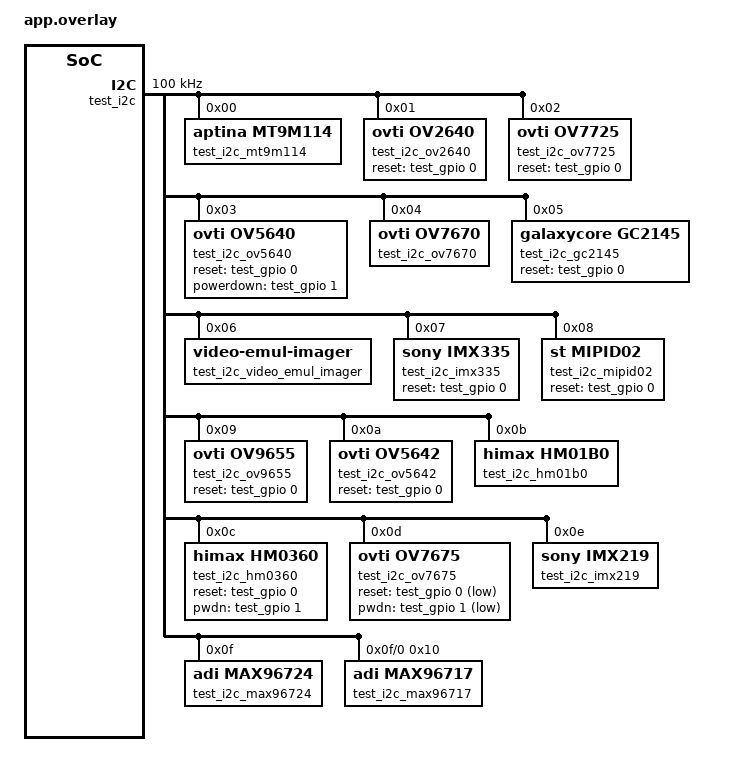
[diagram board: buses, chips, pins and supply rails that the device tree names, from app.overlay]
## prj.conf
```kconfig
CONFIG_TEST=y
CONFIG_TEST_USERSPACE=y
CONFIG_GPIO=y
CONFIG_I2C=y
CONFIG_VIDEO=y
CONFIG_VIDEO_SHELL=y
```

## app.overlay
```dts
/*
 * Copyright (c) 2022, Kumar Gala <galak@kernel.org>
 *
 * SPDX-License-Identifier: Apache-2.0
 *
 * Application overlay for testing driver builds
 *
 * Names in this file should be chosen in a way that won't conflict
 * with real-world devicetree nodes, to allow these tests to run on
 * (and be extended to test) real hardware.
 */

#include <zephyr/dt-bindings/video/video-interfaces.h>

/ {
	imx335_input_clock: imx335-input-clock {
		compatible = "fixed-clock";
		clock-frequency = <24000000>;
		#clock-cells = <0>;
	};

	imx219_input_clock: imx219-input-clock {
		compatible = "fixed-clock";
		clock-frequency = <24000000>;
		#clock-cells = <0>;
	};

	test {
		#address-cells = <1>;
		#size-cells = <1>;

		test_video_native_sim_fifo: video_native_sim_fifo {
			compatible = "zephyr,native-sim-video-fifo";
		};

		test_gpio: gpio@10001000 {
			compatible = "vnd,gpio";
			reg = <0x10001000 0x1000>;
			gpio-controller;
			#gpio-cells = <0x2>;
			status = "okay";
		};

		test_i2c: i2c@10002000 {
			compatible = "vnd,i2c";
			reg = <0x10002000 0x1000>;
			#address-cells = <1>;
			#size-cells = <0>;
			clock-frequency = <100000>;
			status = "okay";

			test_i2c_mt9m114: mt9m114@0 {
				compatible = "aptina,mt9m114";
				reg = <0>;
			};

			test_i2c_ov2640: ov2640@1 {
				compatible = "ovti,ov2640";
				reg = <0x1>;
				reset-gpios = <&test_gpio 0 0>;
			};

			test_i2c_ov7725: ov7725@2 {
				compatible = "ovti,ov7725";
				reg = <0x2>;
				reset-gpios = <&test_gpio 0 0>;
			};

			test_i2c_ov5640: ov5640@3 {
				compatible = "ovti,ov5640";
				reg = <0x3>;
				reset-gpios = <&test_gpio 0 0>;
				powerdown-gpios = <&test_gpio 1 0>;
			};

			test_i2c_ov7670: ov7670@4 {
				compatible = "ovti,ov7670";
				reg = <0x4>;
			};

			test_i2c_gc2145: gc2145@5 {
				compatible = "galaxycore,gc2145";
				reg = <0x5>;
				reset-gpios = <&test_gpio 0 0>;
			};

			test_i2c_video_emul_imager: video_emul_imager@6 {
				compatible = "zephyr,video-emul-imager";
				reg = <0x6>;

				port {
					test_video_emul_imager_ep_out: endpoint {
						remote-endpoint-label = "test_video_emul_rx_ep_in";
					};
				};
			};

			test_i2c_imx335: imx335@7 {
				compatible = "sony,imx335";
				reg = <0x7>;
				clocks = <&imx335_input_clock>;
				reset-gpios = <&test_gpio 0 0>;

				port {
					test_imx335_ep: endpoint {
						remote-endpoint-label = "test_mipid02_0";
					};
				};
			};

			test_i2c_mipid02: bridge@8 {
				compatible = "st,mipid02";
				reg = <0x8>;
				reset-gpios = <&test_gpio 0 0>;

				ports {
					#address-cells = <1>;
					#size-cells = <0>;

					port@0 {
						reg = <0>;

						test_mipid02_0: endpoint {
							data-lanes = <1 2>;
							remote-endpoint-label = "test_imx335_ep";
						};
					};

					port@2 {
						reg = <2>;

						test_mipid02_2: endpoint {
							hsync-active = <0>;
							vsync-active = <0>;
							pclk-sample = <0>;
							remote-endpoint-label = "parallel_receiver";
						};
					};
				};
			};

			test_i2c_ov9655: ov9655@9 {
				compatible = "ovti,ov9655";
				reg = <0x9>;
				reset-gpios = <&test_gpio 0 0>;
			};

			test_i2c_ov5642: ov5642@a {
				compatible = "ovti,ov5642";
				reg = <0xa>;
				reset-gpios = <&test_gpio 0 0>;
			};

			test_i2c_hm01b0: hm01b0@b {
				compatible = "himax,hm01b0";
				reg = <0xb>;
				data-bits = <0x4>;
				status = "okay";

				port {
					hm01b0_ep_out: endpoint {
						remote-endpoint-label = "";
					};
				};
			};

			test_i2c_hm0360: hm0360@c {
				compatible = "himax,hm0360";
				reg = <0xc>;
				reset-gpios = <&test_gpio 0 0>;
				pwdn-gpios = <&test_gpio 1 0>;
				status = "okay";

				port {
					hm0360_ep_out: endpoint {
						remote-endpoint-label = "";
					};
				};
			};

			test_i2c_ov7675: ov7675@d {
				compatible = "ovti,ov7675";
				reg = <0xd>;
				reset-gpios = <&test_gpio 0 1>;
				pwdn-gpios = <&test_gpio 1 1>;
			};

			test_i2c_imx219: imx219@e {
				compatible = "sony,imx219";
				reg = <0xe>;
				clocks = <&imx219_input_clock>;
			};

			test_i2c_max96724: max96724@f {
				compatible = "adi,max96724";
				reg = <0xf>;
				#address-cells = <1>;
				#size-cells = <0>;

				ports {
					#address-cells = <1>;
					#size-cells = <0>;

					port@0 {
						reg = <0>;

						t_gmsl_in: endpoint {
							remote-endpoint-label = "t_gmsl_out";
						};
					};

					port@4 {
						reg = <4>;

						endpoint {
							remote-endpoint-label = "";
							bus-type = <VIDEO_BUS_TYPE_CSI2_DPHY>;
							data-lanes = <1 2>;
							link-frequencies = <700000000>;
						};
					};
				};

				test_i2c_max96724_gate: i2c-gate@0 {
					compatible = "adi,max96724-i2c-gate";
					reg = <0>;
					#address-cells = <1>;
					#size-cells = <0>;
				};
			};
		};

		test_video_emul_rx: video_emul_rx@10003000 {
			compatible = "zephyr,video-emul-rx";
			reg = <0x10003000 0x1000>;

			port {
				#address-cells = <1>;
				#size-cells = <0>;

				test_video_emul_rx_ep_in: endpoint@0 {
					reg = <0x0>;
					remote-endpoint-label = "test_video_emul_imager_ep_out";
				};

				test_video_emul_rx_ep_out: endpoint@1 {
					reg = <0x1>;
					remote-endpoint-label = "application";
				};
			};
		};
	};
};

/* The MAX96717 sits behind the deserializer gate, as on real hardware. */
&test_i2c_max96724_gate {
	test_i2c_max96717: max96717@10 {
		compatible = "adi,max96717";
		reg = <0x10>;

		ports {
			#address-cells = <1>;
			#size-cells = <0>;

			port@1 {
				reg = <1>;

				t_gmsl_out: endpoint {
					remote-endpoint-label = "t_gmsl_in";
				};
			};
		};

		test_i2c_max96717_gate: i2c-gate {
			compatible = "adi,max96717-i2c-gate";
			#address-cells = <1>;
			#size-cells = <0>;
		};

		test_max96717_gpio: gpio {
			compatible = "adi,max96717-gpio";
			gpio-controller;
			#gpio-cells = <2>;
			ngpios = <11>;
		};
	};
};
```

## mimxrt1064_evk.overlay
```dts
/*
 * Copyright 2024 NXP
 * Copyright (c) 2024, Charles Dias <charlesdias.cd@outlook.com>
 *
 * SPDX-License-Identifier: Apache-2.0
 *
 * Names in this file should be chosen in a way that won't conflict
 * with real-world devicetree nodes, to allow these tests to run on
 * (and be extended to test) real hardware.
 */

#include <zephyr/dt-bindings/video/video-interfaces.h>

/ {
	test {
		#address-cells = <1>;
		#size-cells = <1>;

		test_gpio: gpio@deadbeef {
			compatible = "vnd,gpio";
			gpio-controller;
			reg = <0xdeadbeef 0x1000>;
			#gpio-cells = <0x2>;
			status = "okay";
		};

		test_i2c: i2c@11112222 {
			#address-cells = <1>;
			#size-cells = <0>;
			compatible = "vnd,i2c";
			reg = <0x11112222 0x1000>;
			status = "okay";
			clock-frequency = <100000>;

			test_i2c_ov5640: ov5640@3 {
				compatible = "ovti,ov5640";
				reg = <0x3>;
				reset-gpios = <&test_gpio 0 0>;
				powerdown-gpios = <&test_gpio 1 0>;

				port {
					ov5640_ep_out: endpoint {
						remote-endpoint-label = "mipi_csi2rx_ep_in";
						bus-type = <VIDEO_BUS_TYPE_CSI2_DPHY>;
						data-lanes = <1 2>;
					};
				};
			};
		};
	};
};
```

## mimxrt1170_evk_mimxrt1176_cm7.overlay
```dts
/*
 * Copyright 2024 NXP
 *
 * SPDX-License-Identifier: Apache-2.0
 *
 * Names in this file should be chosen in a way that won't conflict
 * with real-world devicetree nodes, to allow these tests to run on
 * (and be extended to test) real hardware.
 */

#include <zephyr/dt-bindings/video/video-interfaces.h>

/ {
	test {
		#address-cells = <1>;
		#size-cells = <1>;

		test_gpio: gpio@deadbeef {
			compatible = "vnd,gpio";
			gpio-controller;
			reg = <0xdeadbeef 0x1000>;
			#gpio-cells = <0x2>;
			status = "okay";
		};

		test_i2c: i2c@11112222 {
			#address-cells = <1>;
			#size-cells = <0>;
			compatible = "vnd,i2c";
			reg = <0x11112222 0x1000>;
			status = "okay";
			clock-frequency = <100000>;

			test_i2c_ov5640: ov5640@1 {
				compatible = "ovti,ov5640";
				reg = <0x1>;
				reset-gpios = <&test_gpio 0 0>;
				powerdown-gpios = <&test_gpio 1 0>;

				port {
					ov5640_ep_out: endpoint {
						remote-endpoint-label = "mipi_csi2rx_ep_in";
						bus-type = <VIDEO_BUS_TYPE_CSI2_DPHY>;
						data-lanes = <1 2>;
					};
				};
			};
		};

		test_csi: csi@22223333 {
			compatible = "nxp,imx-csi";
			reg = <0x22223333 0x4000>;
			status = "okay";
			interrupt-parent = <&nvic>;
			interrupts = <56 1>;

			port {
				test_csi_ep_in: endpoint {
					remote-endpoint-label = "test_mipi_csi2rx_ep_out";
				};
			};
		};

		test_mipi_csi2rx: mipi_csi2rx@33334444 {
			compatible = "nxp,mipi-csi2rx";
			reg = <0x33334444 0x200>;
			status = "okay";
			clocks = <&ccm IMX_CCM_MIPI_CSI2RX_ROOT_CLK 0 0>,
			<&ccm IMX_CCM_MIPI_CSI2RX_UI_CLK 0 0>,
			<&ccm IMX_CCM_MIPI_CSI2RX_ESC_CLK 0 0>;

			ports {
				#address-cells = <1>;
				#size-cells = <0>;

				port@0 {
					reg = <0>;
					test_mipi_csi2rx_ep_out: endpoint {
						remote-endpoint-label = "test_csi_ep_in";
					};
				};

				port@1 {
					reg = <1>;

					mipi_csi2rx_ep_in: endpoint {
						remote-endpoint-label = "ov5640_ep_out";
						data-lanes = <1 2>;
					};
				};
			};
		};
	};
};
```

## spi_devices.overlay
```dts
/*
 * Copyright (c) 2026 Mario Paja
 *
 * SPDX-License-Identifier: Apache-2.0
 *
 */

/ {
	test {
		#address-cells = <1>;
		#size-cells = <1>;

		test_gpio: gpio@10001000 {
			compatible = "vnd,gpio";
			reg = <0x10001000 0x1000>;
			gpio-controller;
			#gpio-cells = <0x2>;
			status = "okay";
		};

		test_spi: spi@10004000 {
			compatible = "vnd,spi";
			reg = <0x10004000 0x1000>;
			#address-cells = <1>;
			#size-cells = <0>;
			clock-frequency = <8000000>;

			/* one entry for every device at spi.dtsi */
			cs-gpios = <&test_gpio 0 0>;
			status = "okay";

			test_spi_arducam_mega: arducam-mega@0 {
				compatible = "arducam,mega";
				reg = <0>;
				spi-max-frequency = <5000000>;
				status = "okay";
			};
		};
	};
};
```

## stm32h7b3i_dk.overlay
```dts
/*
 * Copyright (c) 2024, Charles Dias <charlesdias.cd@outlook.com>
 *
 * SPDX-License-Identifier: Apache-2.0
 *
 * Names in this file should be chosen in a way that won't conflict
 * with real-world devicetree nodes, to allow these tests to run on
 * (and be extended to test) real hardware.
 */

#include <zephyr/dt-bindings/video/video-interfaces.h>

/ {
	test {
		#address-cells = <1>;
		#size-cells = <1>;

		test_gpio: gpio@deadbeef {
			compatible = "vnd,gpio";
			gpio-controller;
			reg = <0xdeadbeef 0x1000>;
			#gpio-cells = <0x2>;
			status = "okay";
		};

		test_i2c: i2c@11112222 {
			#address-cells = <1>;
			#size-cells = <0>;
			compatible = "vnd,i2c";
			reg = <0x11112222 0x1000>;
			status = "okay";
			clock-frequency = <100000>;

			test_i2c_ov5640: ov5640@3 {
				compatible = "ovti,ov5640";
				reg = <0x3>;
				reset-gpios = <&test_gpio 0 0>;
				powerdown-gpios = <&test_gpio 1 0>;

				port {
					ov5640_ep_out: endpoint {
						remote-endpoint-label = "dvp_ep_in";
						bus-type = <VIDEO_BUS_TYPE_PARALLEL>;
					};
				};
			};
		};
	};
};
```

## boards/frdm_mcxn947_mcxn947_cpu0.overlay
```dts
/*
 * Copyright 2025 NXP
 *
 * SPDX-License-Identifier: Apache-2.0
 *
 * Names in this file should be chosen in a way that won't conflict
 * with real-world devicetree nodes, to allow these tests to run on
 * (and be extended to test) real hardware.
 */

#include <zephyr/dt-bindings/video/video-interfaces.h>

/ {
	test {
		#address-cells = <1>;
		#size-cells = <1>;

		test_flexcomm7_lpi2c7: lpi2c@11112222 {
			compatible = "nxp,lpi2c";
			reg = <0x11112222 0x1000>;
			#address-cells = <1>;
			#size-cells = <0>;
			clocks = <&syscon MCUX_FLEXCOMM7_CLK>;
			clock-frequency = <I2C_BITRATE_STANDARD>;

			test_ov7670: ov7670@1 {
				compatible = "ovti,ov7670";
				reg = <0x1>;
				reset-gpios = <&test_gpio 19 GPIO_ACTIVE_HIGH>;
				pwdn-gpios = <&test_gpio 18 GPIO_ACTIVE_HIGH>;

				port {
					test_ov7670_ep_out: endpoint {
						remote-endpoint-label = "test_sdma_ep_in";
					};
				};
			};
		};

		test_smartdma: smartdma@22223333 {
			compatible = "nxp,smartdma";
			reg = <0x22223333 0x1000>;
			interrupt-parent = <&nvic>;
			interrupts = <0 0>;
			program-mem = <0x4000000>;
			#dma-cells = <0>;

			test_video_sdma: video-sdma {
				compatible = "nxp,video-smartdma";
				pinctrl-0 = <&pinmux_smartdma_camera>;
				pinctrl-names = "default";
				vsync-pin = <4>;
				hsync-pin = <11>;
				pclk-pin = <5>;

				port {
					test_sdma_ep_in: endpoint {
						remote-endpoint-label = "test_ov7670_ep_out";
					};
				};
			};
		};

		test_gpio: gpio@deadbeef {
			compatible = "vnd,gpio";
			reg = <0xdeadbeef 0x1000>;
			gpio-controller;
			#gpio-cells = <0x2>;
		};
	};
};
```

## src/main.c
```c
/*
 * Copyright (c) 2022, Kumar Gala <galak@kernel.org>
 *
 * SPDX-License-Identifier: Apache-2.0
 */

void main(void)
{
}
```

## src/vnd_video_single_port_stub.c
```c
/*
 * Copyright 2026 NXP
 *
 * SPDX-License-Identifier: Apache-2.0
 */

#include <zephyr/device.h>
#include <zephyr/devicetree.h>

DT_FOREACH_STATUS_OKAY_VARGS(vnd_video_single_port,
			     DEVICE_DT_DEFINE,
			     NULL, NULL, NULL, NULL,
			     POST_KERNEL, CONFIG_APPLICATION_INIT_PRIORITY,
			     NULL);
```
